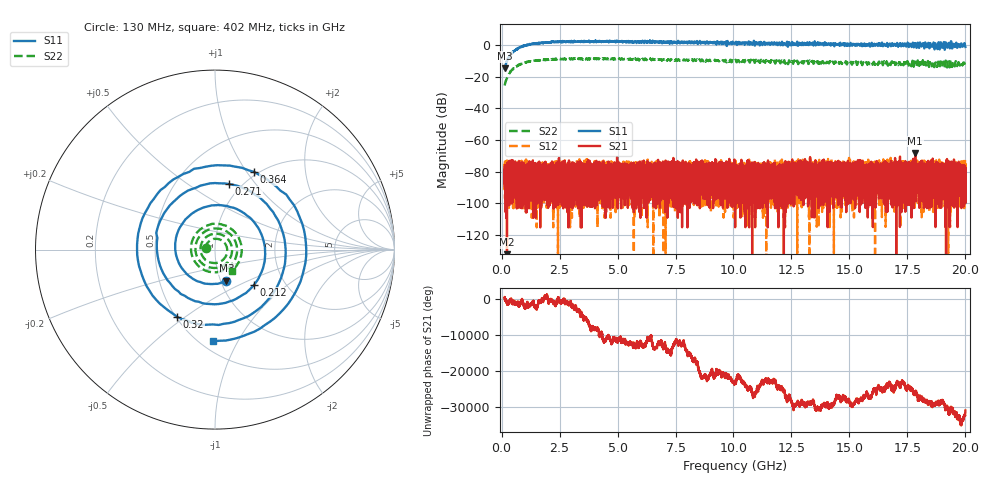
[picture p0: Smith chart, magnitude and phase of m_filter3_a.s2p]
!Created with skrf (http://scikit-rf.org).
# GHz S RI R 50.0
!freq ReS11 ImS11 ReS21 ImS21 ReS12 ImS12 ReS22 ImS22
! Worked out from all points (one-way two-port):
!   20013 points, 130 MHz to 20 GHz, reference 50 ohm
!   highest |S21| = -68.12 dB at 17.84 GHz (marker M1); lowest = -178.5 dB at 232 MHz (marker M2)
!   lowest |S11| = -14.7 dB at 130 MHz (marker M3), VSWR 1.45, Z = 53.3 - j19 ohm
!   |S11| at or under -10 dB: start of sweep to 239.6 MHz
!   |S22| runs from -25.5 to -8.1 dB; largest |S21 - S12| = 0.00045
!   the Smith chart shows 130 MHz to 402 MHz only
!   S11 on the Smith chart (normalised r, x): 130 MHz: 1.07, -0.38; 212 MHz: 1.41, -0.60; 271 MHz: 0.87, +0.74; 320 MHz: 0.51, -0.46; 364 MHz: 0.96, +1.09; 402 MHz: 0.57, -0.79
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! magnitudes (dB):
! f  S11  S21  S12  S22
! 130 MHz  -14.7  -80.7  -85.9  -25.5
! 212 MHz  -10.7  -88.9  -85.9  -21.5
! 232 MHz  -10.2  -178.5  -79.1  -20.7
! 271 MHz  -8.5  -83.1  -82.8  -19.5
! 320 MHz  -7.3  -78.0  -87.4  -18.1
! 364 MHz  -6.3  -76.3  -85.6  -17.2
! 402 MHz  -5.8  -85.8  -77.9  -16.4
! 806 MHz  -1.1  -81.8  -73.5  -11.9
! 1.336 GHz  0.8  -84.6  -78.3  -10.0
! 2.221 GHz  2.1  -84.8  -77.9  -8.9
! 3.442 GHz  2.6  -82.8  -79.5  -8.5
! 6.754 GHz  1.8  -76.6  -79.8  -9.1
! 10.06 GHz  1.7  -82.2  -78.6  -10.0
! 13.38 GHz  0.5  -77.0  -87.1  -10.3
! 16.69 GHz  0.5  -82.9  -84.8  -11.2
! 17.84 GHz  1.3  -68.1  -75.3  -10.8
! 18.74 GHz  -0.4  -88.8  -77.3  -11.4
! 19.42 GHz  -1.9  -79.9  -77.7  -13.7
! 19.48 GHz  0.8  -82.1  -86.3  -10.2
! 19.53 GHz  -0.4  -87.3  -75.4  -13.4
! 19.59 GHz  1.2  -80.1  -83.1  -10.1
! 20 GHz  -1.1  -96.8  -84.7  -12.7
